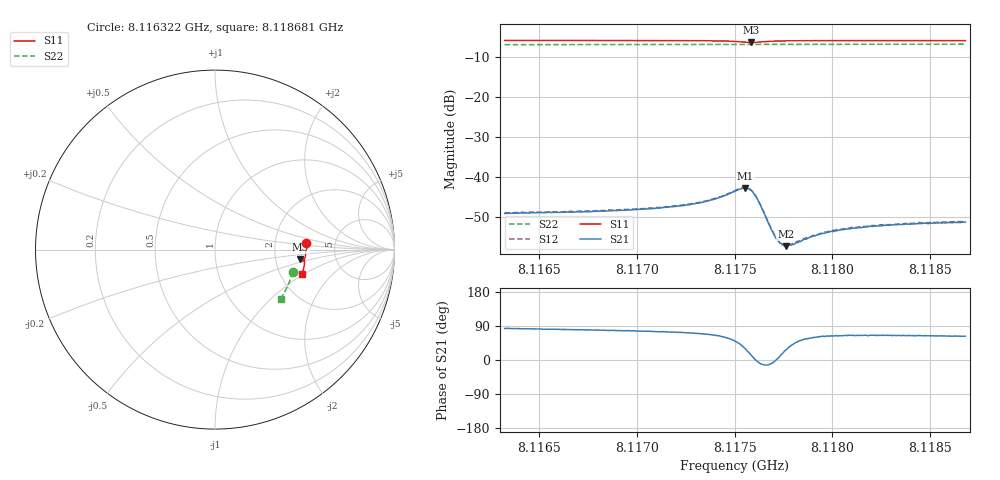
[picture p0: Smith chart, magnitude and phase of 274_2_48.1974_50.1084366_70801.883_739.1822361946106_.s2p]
#  HZ  S  RI  R  50.00
! Rohde & Schwarz Vector Network Analyzer
! Rohde-Schwarz,ZNB20-2Port,1311601062101988,3.16
! Created: UTC 3/20/2024, 11:48:17 AM
! freq[Hz]  re:S11  im:S11  re:S21  im:S21  re:S12  im:S12  re:S22  im:S22
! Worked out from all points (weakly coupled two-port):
!   401 points, 8.116322 GHz to 8.118681 GHz, reference 50 ohm
!   highest |S21| = -42.66 dB at 8.117555 GHz (marker M1); lowest = -57.2 dB at 8.117761 GHz (marker M2)
!   lowest |S11| = -6.4 dB at 8.117584 GHz (marker M3), VSWR 2.83, Z = 139 - j19.4 ohm
!   |S11| at or under -10 dB: nowhere
!   |S22| runs from -7.0 to -6.8 dB; largest |S21 - S12| = 0.00022
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8.1163221e9  0.5058 0.0341  0.000431 0.00351  0.000494 0.00357  0.4319 -0.1235
8.1167172e9  0.5065 0.00425  0.000649 0.00364  0.000758 0.00371  0.4247 -0.15
8.1171123e9  0.5047 -0.0268  0.00111 0.004  0.00115 0.00402  0.4158 -0.1761
8.1172361e9  0.5034 -0.0374  0.00135 0.00424  0.00142 0.00431  0.4126 -0.1842
8.1173482e9  0.5009 -0.0476  0.00182 0.00464  0.00192 0.00469  0.4094 -0.1916
8.1174249e9  0.4975 -0.0556  0.00255 0.00504  0.00265 0.00506  0.4073 -0.1965
8.1175015e9  0.4891 -0.063  0.00432 0.00513  0.00443 0.00519  0.4048 -0.2012
8.117531e9  0.4832 -0.0637  0.00545 0.00462  0.00563 0.00467  0.4037 -0.203
8.1175546e9  0.4781 -0.0612  0.0064 0.00364  0.00654 0.0036  0.4028 -0.2044
8.1175841e9  0.4752 -0.0541  0.00668 0.00148  0.0068 0.00146  0.4018 -0.2057
8.1176018e9  0.4771 -0.0494  0.00607 0.000292  0.00621 0.000226  0.4015 -0.2066
8.1176195e9  0.4807 -0.0465  0.00511 -0.000458  0.00521 -0.000551  0.4012 -0.2075
8.1176902e9  0.4938 -0.0504  0.00215 -0.000327  0.00219 -0.000322  0.3998 -0.2122
8.1177138e9  0.4959 -0.0533  0.00171 1.72e-05  0.00177 -2.08e-05  0.3992 -0.2138
8.1177433e9  0.4974 -0.0571  0.00138 0.000406  0.0014 0.000399  0.3983 -0.2156
8.117761e9  0.4979 -0.0593  0.00125 0.000602  0.00128 0.000632  0.3978 -0.2169
8.1177964e9  0.4986 -0.0633  0.00111 0.000942  0.00112 0.000985  0.3967 -0.2191
8.1178966e9  0.4987 -0.0734  0.000966 0.00157  0.000994 0.00159  0.3937 -0.2255
8.1179733e9  0.498 -0.0801  0.000925 0.00183  0.000961 0.00186  0.3911 -0.2304
8.1180677e9  0.497 -0.0878  0.000964 0.00203  0.001 0.00207  0.3879 -0.2361
8.1182918e9  0.4938 -0.1054  0.00106 0.00231  0.0011 0.00233  0.3799 -0.2498
8.118681e9  0.4864 -0.1342  0.00126 0.00246  0.00128 0.0025  0.3651 -0.2728
